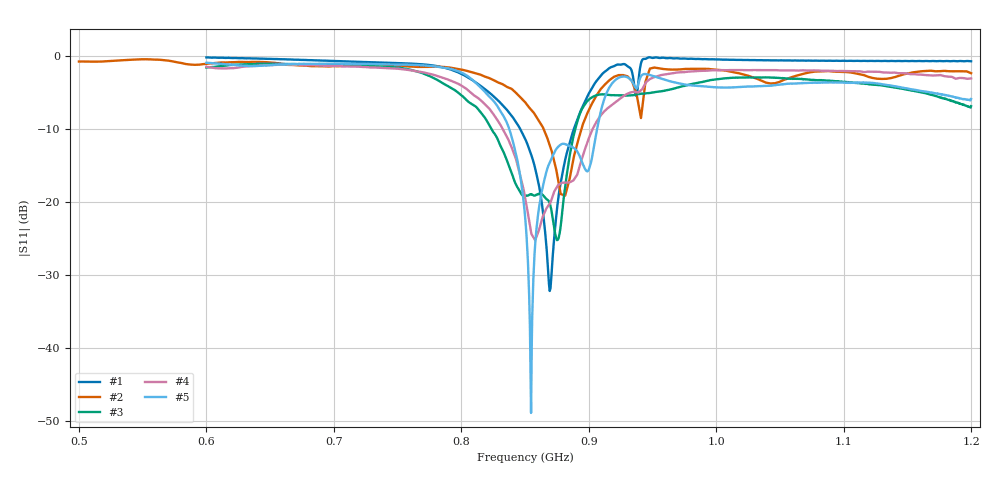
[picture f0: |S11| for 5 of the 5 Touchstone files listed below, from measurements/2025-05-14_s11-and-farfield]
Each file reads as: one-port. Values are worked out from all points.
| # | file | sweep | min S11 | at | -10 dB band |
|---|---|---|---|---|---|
| 1 | 3dRadiationPattern.s1p | 600 MHz to 1.2 GHz | -32.2 dB | 869.4 MHz | 42.3 MHz wide |
| 2 | medido.s1p | 500 MHz to 1.2 GHz | -19.2 dB | 881.5 MHz | 29.91 MHz wide |
| 3 | S11bom.s1p | 600 MHz to 1.2 GHz | -25.3 dB | 875.1 MHz | 66.05 MHz wide |
| 4 | S11recetora.s1p | 600 MHz to 1.2 GHz | -25.3 dB | 858 MHz | 70.84 MHz wide |
| 5 | s11111.s1p | 600 MHz to 1.2 GHz | -48.9 dB | 854.8 MHz | 69.05 MHz wide |
